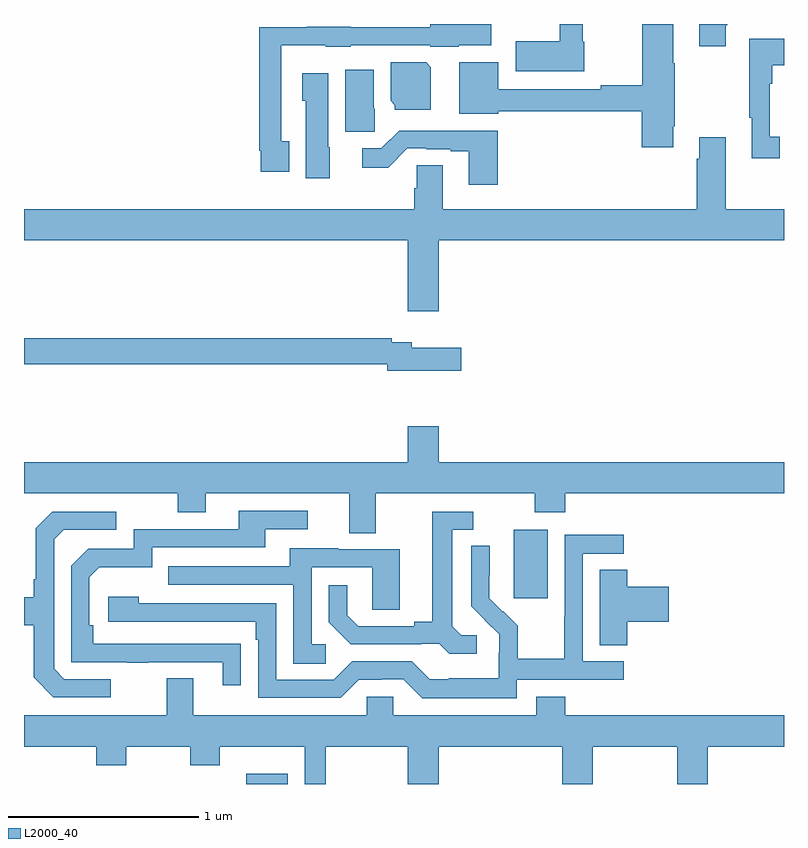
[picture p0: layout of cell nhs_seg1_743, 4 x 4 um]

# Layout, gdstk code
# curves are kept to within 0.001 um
import gdstk
lib = gdstk.Library(unit=1e-6, precision=1e-09)
def R(c, l, rs):  # rectangles x0, y0, x1, y1
    for r in rs: c.add(gdstk.rectangle(r[:2], r[2:], *l))
def P(c, l, *ps):  # polygons
    for p in ps: c.add(gdstk.Polygon(p, *l))
L2000_40 = (2000, 40)

nhs_seg1_743 = lib.new_cell('nhs_seg1_743')
R(nhs_seg1_743, L2000_40, [(152.169,554.199,152.388,554.254), (153.578,555.177,153.757,555.538)])
P(nhs_seg1_743, L2000_40, [(153.948,558.105),(153.94,558.105),(153.94,558.199),(153.819,558.199),(153.819,558.109),(153.588,558.109),(153.588,557.951),(153.948,557.951)],
  [(152.395,557.582),(152.355,557.582),(152.355,558.086),(152.589,558.086),(152.589,558.08),(152.721,558.08),(152.721,558.087),(153.138,558.087),(153.138,558.08),(153.288,558.08),(153.288,558.086),(153.459,558.086),(153.459,558.199),(153.138,558.199),(153.138,558.183),(152.721,558.183),(152.721,558.185),(152.489,558.185),(152.489,558.183),(152.239,558.183),(152.239,557.533),(152.247,557.533),(152.247,557.421),(152.395,557.421)],
  [(154.693,558.193),(154.701,558.193),(154.701,558.199),(154.553,558.199),(154.553,558.081),(154.693,558.081)],
  [(154.417,557.662),(154.425,557.662),(154.425,557.993),(154.417,557.993),(154.417,558.199),(154.255,558.199),(154.255,557.876),(154.036,557.876),(154.036,557.856),(153.496,557.856),(153.496,557.998),(153.29,557.998),(153.29,557.726),(153.496,557.726),(153.496,557.74),(154.25,557.74),(154.25,557.55),(154.417,557.55)],
  [(154.978,557.606),(154.926,557.606),(154.926,557.885),(154.939,557.885),(154.939,557.981),(155,557.981),(155,558.121),(154.818,558.121),(154.818,557.705),(154.829,557.705),(154.829,557.493),(154.978,557.493)],
  [(153.142,557.972),(153.116,557.998),(152.93,557.998),(152.93,557.794),(152.952,557.772),(152.952,557.747),(153.142,557.747)],
  [(152.846,557.754),(152.842,557.754),(152.842,557.959),(152.69,557.959),(152.69,557.631),(152.846,557.631)],
  [(152.608,557.55),(152.602,557.55),(152.602,557.941),(152.465,557.941),(152.465,557.796),(152.483,557.796),(152.483,557.388),(152.608,557.388)],
  [(153.494,557.638),(152.974,557.638),(152.88,557.544),(152.781,557.544),(152.781,557.442),(152.916,557.442),(153.018,557.544),(153.118,557.544),(153.118,557.541),(153.245,557.541),(153.245,557.529),(153.341,557.529),(153.341,557.352),(153.494,557.352)],
  [(153.184,557.06),(155,557.06),(155,557.224),(154.693,557.224),(154.693,557.602),(154.553,557.602),(154.553,557.489),(154.541,557.489),(154.541,557.224),(153.205,557.224),(153.205,557.456),(153.066,557.456),(153.066,557.334),(153.053,557.334),(153.053,557.224),(151,557.224),(151,557.06),(153.02,557.06),(153.02,556.686),(153.184,556.686)],
  [(153.301,556.495),(153.04,556.495),(153.04,556.524),(152.936,556.524),(152.936,556.544),(151,556.544),(151,556.408),(152.912,556.408),(152.912,556.373),(153.301,556.373)],
  [(152.851,555.728),(153.688,555.728),(153.688,555.629),(153.848,555.629),(153.848,555.728),(155,555.728),(155,555.892),(153.184,555.892),(153.184,556.081),(153.02,556.081),(153.02,555.892),(151,555.892),(151,555.728),(151.81,555.728),(151.81,555.629),(151.957,555.629),(151.957,555.728),(152.711,555.728),(152.711,555.52),(152.851,555.52)],
  [(152.141,554.936),(151.364,554.937),(151.364,555.034),(151.344,555.034),(151.344,555.288),(151.397,555.341),(151.674,555.341),(151.674,555.444),(152.269,555.444),(152.269,555.54),(152.494,555.54),(152.494,555.636),(152.129,555.636),(152.129,555.54),(151.578,555.54),(151.578,555.438),(151.338,555.438),(151.248,555.348),(151.248,554.841),(151.543,554.841),(151.543,554.836),(151.655,554.836),(151.655,554.841),(152.045,554.841),(152.045,554.718),(152.141,554.718)],
  [(153.382,554.982),(153.3,554.982),(153.253,555.029),(153.253,555.537),(153.364,555.537),(153.364,555.633),(153.149,555.633),(153.149,555.053),(153.053,555.053),(153.053,555.03),(152.758,555.03),(152.701,555.087),(152.701,555.244),(152.604,555.244),(152.604,555.05),(152.72,554.934),(153.092,554.934),(153.092,554.937),(153.186,554.937),(153.238,554.885),(153.382,554.885)],
  [(151.456,554.751),(151.212,554.751),(151.158,554.805),(151.158,555.486),(151.209,555.537),(151.486,555.537),(151.486,555.633),(151.149,555.633),(151.062,555.546),(151.062,555.277),(151.05,555.277),(151.05,555.181),(151,555.181),(151,555.034),(151.05,555.034),(151.05,554.761),(151.155,554.655),(151.456,554.655)],
  [(153.594,554.748),(154.156,554.748),(154.156,554.844),(153.942,554.844),(153.942,555.411),(154.156,555.411),(154.156,555.51),(153.846,555.51),(153.846,555.08),(153.844,555.08),(153.844,554.857),(153.599,554.857),(153.599,555.031),(153.522,555.108),(153.519,555.105),(153.449,555.176),(153.45,555.452),(153.354,555.452),(153.354,555.134),(153.5,554.986),(153.5,554.889),(153.498,554.889),(153.498,554.755),(153.235,554.755),(153.235,554.751),(153.135,554.751),(153.042,554.844),(152.727,554.844),(152.631,554.748),(152.328,554.748),(152.328,555.15),(151.604,555.15),(151.604,555.184),(151.443,555.184),(151.443,555.054),(152.219,555.054),(152.219,554.957),(152.232,554.957),(152.232,554.652),(152.667,554.652),(152.763,554.748),(152.882,554.748),(152.882,554.751),(152.997,554.751),(153.097,554.651),(153.594,554.651)],
  [(152.587,554.934),(152.514,554.934),(152.514,555.339),(152.832,555.339),(152.832,555.115),(152.977,555.115),(152.977,555.435),(152.653,555.435),(152.653,555.439),(152.399,555.439),(152.399,555.345),(151.759,555.345),(151.759,555.249),(152.418,555.249),(152.418,554.833),(152.587,554.833)],
  [(154.175,555.053),(154.393,555.053),(154.393,555.236),(154.175,555.236),(154.175,555.326),(154.031,555.326),(154.031,554.929),(154.175,554.929)],
  [(152.588,554.396),(153.02,554.396),(153.02,554.199),(153.184,554.199),(153.184,554.396),(153.833,554.396),(153.833,554.199),(153.993,554.199),(153.993,554.396),(154.438,554.396),(154.438,554.199),(154.598,554.199),(154.598,554.396),(155,554.396),(155,554.56),(153.848,554.56),(153.848,554.659),(153.695,554.659),(153.695,554.56),(152.943,554.56),(152.943,554.658),(152.805,554.658),(152.805,554.56),(151.891,554.56),(151.891,554.755),(151.751,554.755),(151.751,554.56),(151,554.56),(151,554.396),(151.379,554.396),(151.379,554.297),(151.539,554.297),(151.539,554.396),(151.876,554.396),(151.876,554.297),(152.031,554.297),(152.031,554.396),(152.477,554.396),(152.477,554.199),(152.588,554.199)])

lib.write_gds('nhs_seg1_743.gds')
